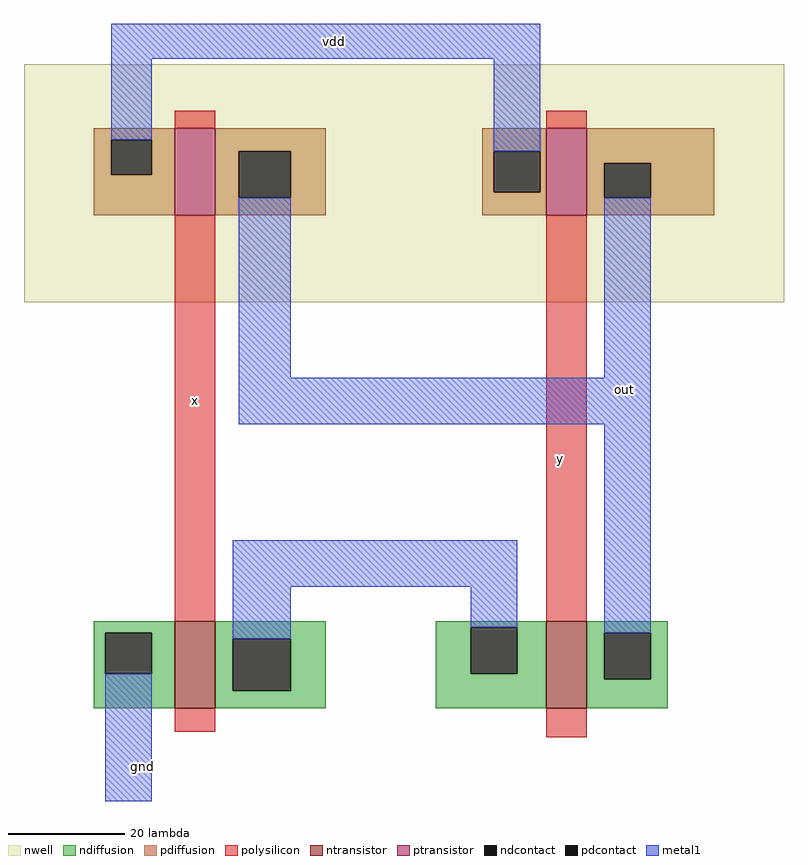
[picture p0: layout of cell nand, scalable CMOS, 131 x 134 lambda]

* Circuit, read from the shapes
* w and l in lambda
.subckt nand gnd out vdd x y
M1 n1 x gnd VSUBS nfet w=15 l=7
M2 out y n1 VSUBS nfet w=15 l=7
M3 out x vdd n2 pfet w=15 l=7
M4 out y vdd n2 pfet w=15 l=7
.ends

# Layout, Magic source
magic
tech scmos
<< nwell >>
rect -64 0 67 41
<< ntransistor >>
rect -38 -70 -31 -55
rect 26 -70 33 -55
<< ptransistor >>
rect -38 15 -31 30
rect 26 15 33 30
<< ndiffusion >>
rect -52 -57 -38 -55
rect -52 -64 -50 -57
rect -42 -64 -38 -57
rect -52 -70 -38 -64
rect -31 -58 -12 -55
rect -31 -67 -28 -58
rect -18 -67 -12 -58
rect -31 -70 -12 -67
rect 7 -56 26 -55
rect 7 -64 13 -56
rect 21 -64 26 -56
rect 7 -70 26 -64
rect 33 -57 47 -55
rect 33 -65 36 -57
rect 44 -65 47 -57
rect 33 -70 47 -65
<< pdiffusion >>
rect -52 28 -38 30
rect -52 22 -49 28
rect -42 22 -38 28
rect -52 15 -38 22
rect -31 26 -12 30
rect -31 18 -27 26
rect -18 18 -12 26
rect -31 15 -12 18
rect 15 26 26 30
rect 15 19 17 26
rect 25 19 26 26
rect 15 15 26 19
rect 33 24 55 30
rect 33 18 36 24
rect 44 18 55 24
rect 33 15 55 18
<< ndcontact >>
rect -50 -64 -42 -57
rect -28 -67 -18 -58
rect 13 -64 21 -56
rect 36 -65 44 -57
<< pdcontact >>
rect -49 22 -42 28
rect -27 18 -18 26
rect 17 19 25 26
rect 36 18 44 24
<< polysilicon >>
rect -38 30 -31 33
rect 26 30 33 33
rect -38 -55 -31 15
rect 26 -55 33 15
rect -38 -74 -31 -70
rect 26 -75 33 -70
<< metal1 >>
rect -49 42 25 48
rect -49 28 -42 42
rect 17 26 25 42
rect -27 -13 -18 18
rect 36 -13 44 18
rect -27 -21 44 -13
rect -28 -49 21 -41
rect -50 -86 -42 -64
rect -28 -58 -18 -49
rect 13 -56 21 -49
rect 36 -57 44 -21
<< labels >>
rlabel polysilicon -35 -19 -34 -15 1 x
rlabel polysilicon 28 -29 29 -25 1 y
rlabel metal1 -44 -82 -43 -78 1 gnd
rlabel metal1 -11 43 -10 47 5 vdd
rlabel metal1 39 -17 40 -13 1 out
<< end >>
